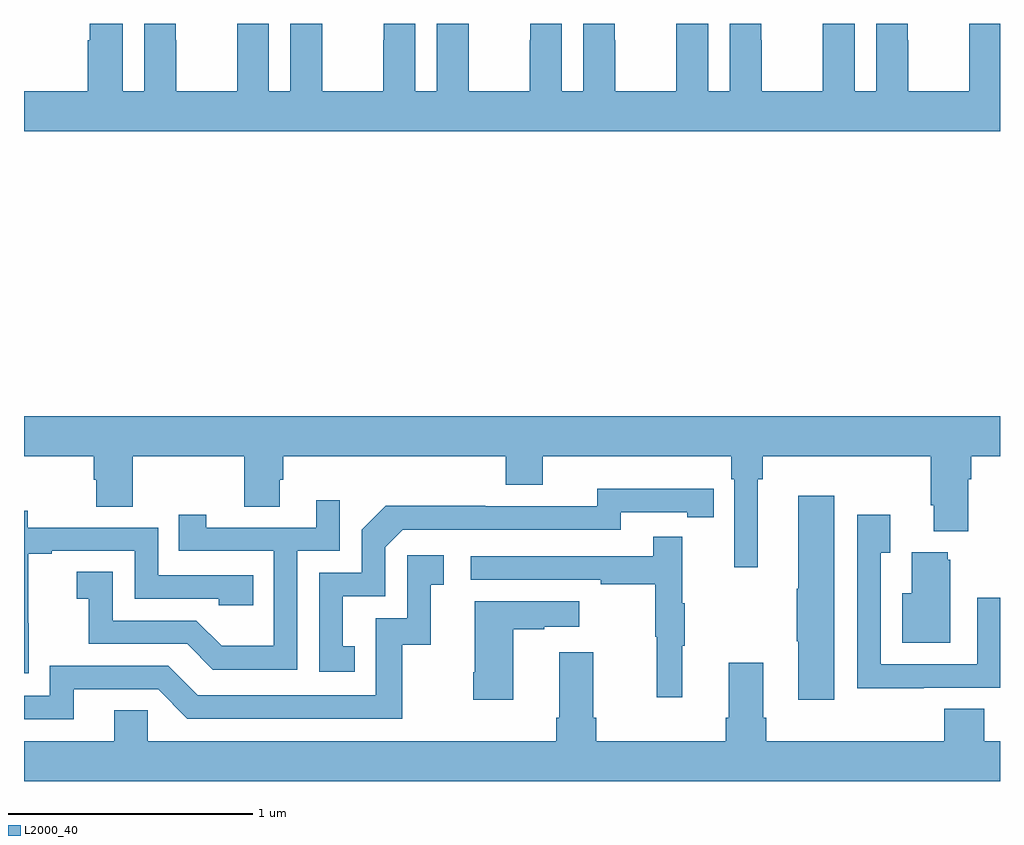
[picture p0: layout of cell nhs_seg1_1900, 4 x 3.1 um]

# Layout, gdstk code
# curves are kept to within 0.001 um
import gdstk
lib = gdstk.Library(unit=1e-6, precision=1e-09)
def P(c, l, *ps):  # polygons
    for p in ps: c.add(gdstk.Polygon(p, *l))
L2000_40 = (2000, 40)

nhs_seg1_1900 = lib.new_cell('nhs_seg1_1900')
P(nhs_seg1_1900, L2000_40, [(219,524.199),(218.874,524.199),(218.874,524.132),(218.873,524.132),(218.873,523.924),(218.623,523.924),(218.623,524.132),(218.622,524.132),(218.622,524.199),(218.492,524.199),(218.492,523.924),(218.404,523.924),(218.404,524.199),(218.274,524.199),(218.274,524.132),(218.273,524.132),(218.273,523.924),(218.023,523.924),(218.023,524.132),(218.022,524.132),(218.022,524.199),(217.892,524.199),(217.892,523.924),(217.804,523.924),(217.804,524.199),(217.674,524.199),(217.674,524.132),(217.673,524.132),(217.673,523.924),(217.423,523.924),(217.423,524.132),(217.422,524.132),(217.422,524.199),(217.292,524.199),(217.292,523.924),(217.204,523.924),(217.204,524.199),(217.074,524.199),(217.074,524.132),(217.073,524.132),(217.073,523.924),(216.823,523.924),(216.823,524.132),(216.822,524.132),(216.822,524.199),(216.692,524.199),(216.692,523.924),(216.604,523.924),(216.604,524.199),(216.474,524.199),(216.474,524.132),(216.473,524.132),(216.473,523.924),(216.223,523.924),(216.223,524.132),(216.222,524.132),(216.222,524.199),(216.092,524.199),(216.092,523.924),(216.004,523.924),(216.004,524.199),(215.874,524.199),(215.874,524.132),(215.873,524.132),(215.873,523.924),(215.623,523.924),(215.623,524.132),(215.622,524.132),(215.622,524.199),(215.492,524.199),(215.492,523.924),(215.404,523.924),(215.404,524.199),(215.27,524.199),(215.27,524.132),(215.261,524.132),(215.261,523.924),(215,523.924),(215,523.76),(219,523.76)],
  [(218.008,522.332),(218.027,522.332),(218.027,522.428),(218.717,522.428),(218.717,522.226),(218.729,522.226),(218.729,522.119),(218.869,522.119),(218.869,522.332),(218.882,522.332),(218.882,522.428),(219,522.428),(219,522.592),(215,522.592),(215,522.428),(215.285,522.428),(215.285,522.33),(215.297,522.33),(215.297,522.22),(215.445,522.22),(215.445,522.428),(215.902,522.428),(215.902,522.22),(216.049,522.22),(216.049,522.33),(216.062,522.33),(216.062,522.428),(216.974,522.428),(216.974,522.311),(217.126,522.311),(217.126,522.428),(217.898,522.428),(217.898,522.332),(217.911,522.332),(217.911,521.973),(218.008,521.973)],
  [(216.356,521.649),(216.307,521.649),(216.307,521.853),(216.48,521.853),(216.48,522.054),(216.552,522.126),(217.446,522.126),(217.446,522.198),(217.718,522.198),(217.718,522.178),(217.826,522.178),(217.826,522.294),(217.35,522.295),(217.35,522.222),(216.89,522.222),(216.89,522.224),(216.482,522.224),(216.384,522.126),(216.384,521.949),(216.21,521.949),(216.21,521.544),(216.356,521.544)],
  [(218.32,522.265),(218.174,522.265),(218.174,521.885),(218.167,521.885),(218.167,521.668),(218.174,521.668),(218.174,521.43),(218.32,521.43)],
  [(216.12,522.039),(216.294,522.039),(216.294,522.246),(216.197,522.246),(216.197,522.135),(215.746,522.135),(215.746,522.187),(215.635,522.187),(215.635,522.039),(216.024,522.039),(216.024,521.65),(215.81,521.65),(215.706,521.754),(215.364,521.754),(215.364,521.953),(215.217,521.953),(215.217,521.843),(215.266,521.843),(215.266,521.658),(215.669,521.658),(215.774,521.553),(216.12,521.553)],
  [(215.019,521.743),(215.018,521.743),(215.018,522.027),(215.113,522.027),(215.113,522.039),(215.454,522.039),(215.454,521.844),(215.799,521.844),(215.799,521.817),(215.939,521.817),(215.939,521.94),(215.55,521.94),(215.55,522.135),(215.016,522.135),(215.016,522.204),(215,522.204),(215,521.537),(215.019,521.537)],
  [(218.687,521.478),(219,521.478),(219,521.847),(218.907,521.847),(218.907,521.574),(218.511,521.574),(218.511,522.031),(218.551,522.031),(218.551,522.187),(218.415,522.187),(218.415,521.477),(218.687,521.477)],
  [(217.697,521.651),(217.708,521.651),(217.708,521.825),(217.697,521.825),(217.697,522.097),(217.579,522.097),(217.579,522.018),(216.831,522.018),(216.831,521.922),(217.363,521.922),(217.363,521.902),(217.587,521.902),(217.587,521.688),(217.594,521.688),(217.594,521.439),(217.697,521.439)],
  [(218.797,522.003),(218.786,522.003),(218.786,522.034),(218.639,522.034),(218.639,521.866),(218.6,521.866),(218.6,521.663),(218.797,521.663)],
  [(215.203,521.472),(215.55,521.472),(215.67,521.352),(216.55,521.352),(216.55,521.655),(216.668,521.655),(216.668,521.901),(216.721,521.901),(216.721,522.022),(216.57,522.022),(216.57,521.763),(216.441,521.763),(216.441,521.448),(215.712,521.448),(215.592,521.568),(215.106,521.568),(215.106,521.445),(215,521.445),(215,521.349),(215.203,521.349)],
  [(217.006,521.719),(217.133,521.719),(217.133,521.729),(217.276,521.729),(217.276,521.833),(216.848,521.833),(216.848,521.542),(216.841,521.542),(216.841,521.43),(217.006,521.43)],
  [(219,521.26),(218.936,521.26),(218.936,521.393),(218.771,521.393),(218.771,521.26),(218.042,521.26),(218.042,521.356),(218.029,521.356),(218.029,521.581),(217.889,521.581),(217.889,521.356),(217.877,521.356),(217.877,521.26),(217.346,521.26),(217.346,521.356),(217.333,521.356),(217.333,521.623),(217.193,521.623),(217.193,521.356),(217.181,521.356),(217.181,521.26),(215.508,521.26),(215.508,521.387),(215.369,521.387),(215.369,521.26),(215,521.26),(215,521.096),(219,521.096)])

lib.write_gds('nhs_seg1_1900.gds')
